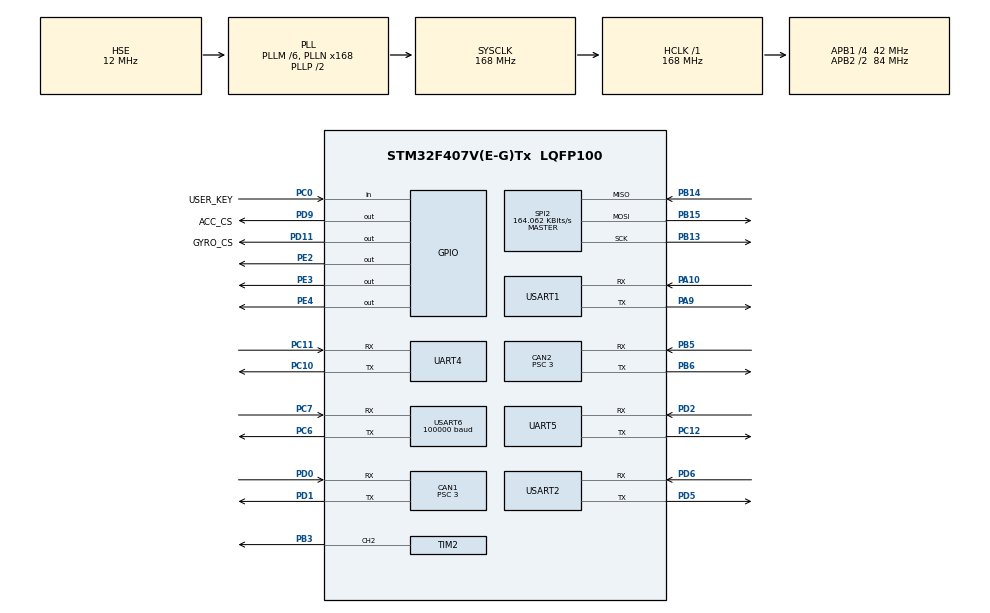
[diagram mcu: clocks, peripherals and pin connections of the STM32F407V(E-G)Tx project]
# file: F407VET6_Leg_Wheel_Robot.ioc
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CAN1.BS1=CAN_BS1_10TQ
CAN1.BS2=CAN_BS2_3TQ
CAN1.CalculateBaudRate=1000000
CAN1.CalculateTimeBit=1000
CAN1.CalculateTimeQuantum=71.42857142857143
CAN1.Prescaler=3
CAN2.BS1=CAN_BS1_10TQ
CAN2.BS2=CAN_BS2_3TQ
CAN2.CalculateBaudRate=1000000
CAN2.CalculateTimeBit=1000
CAN2.CalculateTimeQuantum=71.42857142857143
CAN2.Prescaler=3
Dma.Request0=USART1_RX
Dma.Request1=USART1_TX
Dma.Request2=UART4_RX
Dma.Request3=UART4_TX
Dma.Request4=USART6_RX
Dma.UART4_RX.2.Direction=DMA_PERIPH_TO_MEMORY
Dma.UART4_RX.2.FIFOMode=DMA_FIFOMODE_DISABLE
Dma.UART4_RX.2.Instance=DMA1_Stream2
Dma.UART4_RX.2.MemDataAlignment=DMA_MDATAALIGN_BYTE
Dma.UART4_RX.2.MemInc=DMA_MINC_ENABLE
Dma.UART4_RX.2.Mode=DMA_NORMAL
Dma.UART4_RX.2.PeriphDataAlignment=DMA_PDATAALIGN_BYTE
Dma.UART4_RX.2.PeriphInc=DMA_PINC_DISABLE
Dma.UART4_RX.2.Priority=DMA_PRIORITY_VERY_HIGH
Dma.UART4_TX.3.Direction=DMA_MEMORY_TO_PERIPH
Dma.UART4_TX.3.FIFOMode=DMA_FIFOMODE_DISABLE
Dma.UART4_TX.3.Instance=DMA1_Stream4
Dma.UART4_TX.3.MemDataAlignment=DMA_MDATAALIGN_BYTE
Dma.UART4_TX.3.MemInc=DMA_MINC_ENABLE
Dma.UART4_TX.3.Mode=DMA_CIRCULAR
Dma.UART4_TX.3.PeriphDataAlignment=DMA_PDATAALIGN_BYTE
Dma.UART4_TX.3.PeriphInc=DMA_PINC_DISABLE
Dma.UART4_TX.3.Priority=DMA_PRIORITY_VERY_HIGH
Dma.USART1_RX.0.Direction=DMA_PERIPH_TO_MEMORY
Dma.USART1_RX.0.FIFOMode=DMA_FIFOMODE_DISABLE
Dma.USART1_RX.0.Instance=DMA2_Stream2
Dma.USART1_RX.0.MemDataAlignment=DMA_MDATAALIGN_BYTE
Dma.USART1_RX.0.MemInc=DMA_MINC_ENABLE
Dma.USART1_RX.0.Mode=DMA_NORMAL
Dma.USART1_RX.0.PeriphDataAlignment=DMA_PDATAALIGN_BYTE
Dma.USART1_RX.0.PeriphInc=DMA_PINC_DISABLE
Dma.USART1_RX.0.Priority=DMA_PRIORITY_VERY_HIGH
Dma.USART1_TX.1.Direction=DMA_MEMORY_TO_PERIPH
Dma.USART1_TX.1.FIFOMode=DMA_FIFOMODE_DISABLE
Dma.USART1_TX.1.Instance=DMA2_Stream7
Dma.USART1_TX.1.MemDataAlignment=DMA_MDATAALIGN_BYTE
Dma.USART1_TX.1.MemInc=DMA_MINC_ENABLE
Dma.USART1_TX.1.Mode=DMA_CIRCULAR
Dma.USART1_TX.1.PeriphDataAlignment=DMA_PDATAALIGN_BYTE
Dma.USART1_TX.1.PeriphInc=DMA_PINC_DISABLE
Dma.USART1_TX.1.Priority=DMA_PRIORITY_VERY_HIGH
Dma.USART6_RX.4.Direction=DMA_PERIPH_TO_MEMORY
Dma.USART6_RX.4.FIFOMode=DMA_FIFOMODE_DISABLE
Dma.USART6_RX.4.Instance=DMA2_Stream1
Dma.USART6_RX.4.MemDataAlignment=DMA_MDATAALIGN_BYTE
Dma.USART6_RX.4.MemInc=DMA_MINC_ENABLE
Dma.USART6_RX.4.Mode=DMA_CIRCULAR
Dma.USART6_RX.4.PeriphDataAlignment=DMA_PDATAALIGN_BYTE
Dma.USART6_RX.4.PeriphInc=DMA_PINC_DISABLE
Dma.USART6_RX.4.Priority=DMA_PRIORITY_VERY_HIGH
FREERTOS.Tasks01=defaultTask,0,128,StartDefaultTask,Default,NULL,Dynamic,NULL,NULL;INS_TASK,3,512,INS_Task,Default,NULL,Dynamic,NULL,NULL;LEG_RIGHT,1,512,LEG_Right,Default,NULL,Dynamic,NULL,NULL;LEG_LEFT,1,512,LEG_Left,Default,NULL,Dynamic,NULL,NULL;BALAENCE_CHAIR,1,512,BALANCE_Chair,Default,NULL,Dynamic,NULL,NULL;OBSERVE_TASK,2,512,Observe_Task,Default,NULL,Dynamic,NULL,NULL;DRIVER_TASK,1,128,DRIVER_Task,Default,NULL,Dynamic,NULL,NULL
Mcu.Family=STM32F4
Mcu.Name=STM32F407V(E-G)Tx
Mcu.Package=LQFP100
NVIC.CAN1_RX0_IRQn=true\:5\:0\:false\:false\:true\:true\:true\:true\:true
NVIC.CAN1_RX1_IRQn=true\:5\:0\:false\:false\:true\:true\:true\:true\:true
NVIC.CAN2_RX0_IRQn=true\:5\:0\:false\:false\:true\:true\:true\:true\:true
NVIC.CAN2_RX1_IRQn=true\:5\:0\:false\:false\:true\:true\:true\:true\:true
NVIC.DMA1_Stream2_IRQn=true\:5\:0\:false\:false\:true\:true\:false\:true\:true
NVIC.DMA1_Stream4_IRQn=true\:5\:0\:false\:false\:true\:true\:false\:true\:true
NVIC.DMA2_Stream1_IRQn=true\:5\:0\:false\:false\:true\:true\:false\:true\:true
NVIC.DMA2_Stream2_IRQn=true\:5\:0\:false\:false\:true\:true\:false\:true\:true
NVIC.DMA2_Stream7_IRQn=true\:5\:0\:false\:false\:true\:true\:false\:true\:true
NVIC.PriorityGroup=NVIC_PRIORITYGROUP_4
NVIC.TIM3_IRQn=true\:15\:0\:false\:false\:true\:false\:false\:true\:true
NVIC.TimeBase=TIM3_IRQn
NVIC.TimeBaseIP=TIM3
NVIC.UART4_IRQn=true\:5\:0\:false\:false\:true\:true\:true\:true\:true
NVIC.USART1_IRQn=true\:5\:0\:false\:false\:true\:true\:false\:true\:true
NVIC.USART6_IRQn=true\:5\:0\:true\:false\:true\:false\:true\:true\:true
PA10.Mode=Asynchronous
PA10.Signal=USART1_RX
PA13.Mode=Serial_Wire
PA13.Signal=SYS_JTMS-SWDIO
PA14.Mode=Serial_Wire
PA14.Signal=SYS_JTCK-SWCLK
PA9.Mode=Asynchronous
PA9.Signal=USART1_TX
PB13.Mode=Full_Duplex_Master
PB13.Signal=SPI2_SCK
PB14.Mode=Full_Duplex_Master
PB14.Signal=SPI2_MISO
PB15.Mode=Full_Duplex_Master
PB15.Signal=SPI2_MOSI
PB3.Signal=S_TIM2_CH2
PB5.Mode=CAN_Activate
PB5.Signal=CAN2_RX
PB6.Mode=CAN_Activate
PB6.Signal=CAN2_TX
PC0.GPIO_Label=USER_KEY
PC0.Signal=GPIO_Input
PC10.Mode=Asynchronous
PC10.Signal=UART4_TX
PC11.Mode=Asynchronous
PC11.Signal=UART4_RX
PC12.Mode=Asynchronous
PC12.Signal=UART5_TX
PC6.Mode=Asynchronous
PC6.Signal=USART6_TX
PC7.Mode=Asynchronous
PC7.Signal=USART6_RX
PD0.Mode=CAN_Activate
PD0.Signal=CAN1_RX
PD1.Mode=CAN_Activate
PD1.Signal=CAN1_TX
PD11.GPIO_Label=GYRO_CS
PD11.Signal=GPIO_Output
PD2.Mode=Asynchronous
PD2.Signal=UART5_RX
PD5.Mode=Asynchronous
PD5.Signal=USART2_TX
PD6.Mode=Asynchronous
PD6.Signal=USART2_RX
PD9.GPIO_Label=ACC_CS
PD9.Signal=GPIO_Output
PE2.PinState=GPIO_PIN_SET
PE2.Signal=GPIO_Output
PE3.PinState=GPIO_PIN_SET
PE3.Signal=GPIO_Output
PE4.PinState=GPIO_PIN_SET
PE4.Signal=GPIO_Output
PH0-OSC_IN.Mode=HSE-External-Oscillator
PH0-OSC_IN.Signal=RCC_OSC_IN
PH1-OSC_OUT.Mode=HSE-External-Oscillator
PH1-OSC_OUT.Signal=RCC_OSC_OUT
ProjectManager.HeapSize=0x200
ProjectManager.StackSize=0x400
ProjectManager.TargetToolchain=MDK-ARM V5.32
RCC.48MHZClocksFreq_Value=84000000
RCC.AHBFreq_Value=168000000
RCC.APB1CLKDivider=RCC_HCLK_DIV4
RCC.APB1Freq_Value=42000000
RCC.APB1TimFreq_Value=84000000
RCC.APB2CLKDivider=RCC_HCLK_DIV2
RCC.APB2Freq_Value=84000000
RCC.APB2TimFreq_Value=168000000
RCC.CortexFreq_Value=168000000
RCC.HCLKFreq_Value=168000000
RCC.HSE_VALUE=12000000
RCC.HSI_VALUE=16000000
RCC.LSE_VALUE=32768
RCC.PLLM=6
RCC.PLLN=168
RCC.PLLSourceVirtual=RCC_PLLSOURCE_HSE
RCC.SYSCLKFreq_VALUE=168000000
RCC.SYSCLKSource=RCC_SYSCLKSOURCE_PLLCLK
RCC.VCOOutputFreq_Value=336000000
SH.S_TIM2_CH2.0=TIM2_CH2,Output Compare2 CH2
SPI2.BaudRatePrescaler=SPI_BAUDRATEPRESCALER_256
SPI2.CLKPhase=SPI_PHASE_2EDGE
SPI2.CLKPolarity=SPI_POLARITY_HIGH
SPI2.CalculateBaudRate=164.062 KBits/s
SPI2.Direction=SPI_DIRECTION_2LINES
SPI2.Mode=SPI_MODE_MASTER
SPI2.VirtualType=VM_MASTER
TIM2.Channel-Output\ Compare2\ CH2=TIM_CHANNEL_2
TIM2.Period=4999
UART4.VirtualMode=Asynchronous
UART5.VirtualMode=Asynchronous
USART1.VirtualMode=VM_ASYNC
USART2.VirtualMode=VM_ASYNC
USART6.BaudRate=100000
USART6.Parity=PARITY_EVEN
USART6.StopBits=STOPBITS_2
USART6.VirtualMode=VM_ASYNC
USART6.WordLength=WORDLENGTH_9B
VP_FREERTOS_VS_CMSIS_V1.Mode=CMSIS_V1
VP_SYS_VS_tim3.Mode=TIM3
board=custom

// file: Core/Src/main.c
/* USER CODE BEGIN Header */
/**
  ******************************************************************************
  * @file           : main.c
  * @brief          : Main program body
  ******************************************************************************
  * @attention
  *
  * Copyright (c) 2024 STMicroelectronics.
  * All rights reserved.
  *
  * This software is licensed under terms that can be found in the LICENSE file
  * in the root directory of this software component.
  * If no LICENSE file comes with this software, it is provided AS-IS.
  *
  ******************************************************************************
  */
/* USER CODE END Header */
#include "main.h"
#include "cmsis_os.h"
#include "can.h"
#include "dma.h"
#include "spi.h"
#include "tim.h"
#include "usart.h"
#include "gpio.h"

/* USER CODE BEGIN Includes */
#include "usart_rc_dbus.h"
#include "BMI088driver.h"
#include "BMI088reg.h"
#include "BMI088Middleware.h"
#include "bsp_dwt.h"
#include "can_receive.h"
#include "ins_task.h"
#include "BM_Ctrl.h"
/* USER CODE END Includes */

void SystemClock_Config(void);
void MX_FREERTOS_Init(void);

/* USER CODE BEGIN 0 */
uint8_t motor_mode[8];

/* USER CODE END 0 */

int main(void)
{

  /* MCU Configuration--------------------------------------------------------*/

  /* Reset of all peripherals, Initializes the Flash interface and the Systick. */
  HAL_Init();

  /* Configure the system clock */
  SystemClock_Config();

  /* Initialize all configured peripherals */
  MX_GPIO_Init();
  MX_DMA_Init();
  MX_CAN1_Init();
  MX_CAN2_Init();
  MX_SPI2_Init();
  MX_TIM2_Init();
  MX_UART4_Init();
  MX_UART5_Init();
  MX_USART1_UART_Init();
  MX_USART2_UART_Init();
  MX_USART6_UART_Init();
  /* USER CODE BEGIN 2 */
	CAN_Init();
	RC_init();

	DWT_Init(168);

  /* BMI088初始化 *///之前已经对角速度和加速度的零飘校准过了，所以之后上电就不需要校准。如果硬件设备更换，则需要重新校准下
  while (BMI088_init(&hspi2, 0) != BMI088_NO_ERROR)
	{
	  HAL_GPIO_TogglePin(GPIOE,GPIO_PIN_2);
	}
  /* USER CODE END 2 */

  /* Call init function for freertos objects (in cmsis_os2.c) */
  MX_FREERTOS_Init();

  /* Start scheduler */
  osKernelStart();

  /* We should never get here as control is now taken by the scheduler */

  /* Infinite loop */
  while (1)
  {

    /* USER CODE BEGIN 3 */
//		for(int i=0;i<8;i++)
//		{
//			motor_mode[i]=BM_disable_mode;
//		}
////		BM_motor_ctrl(&hcan2,BM_ID_range_2,0,0,1000,0);
//		HAL_Delay(10);
//		BM_ctrl_mode_set(&hcan2,motor_mode);
//		BM_data_write_mode_set(&hcan2,1,0x2A,7);
//		BM_data_save_joint_set(&hcan2,0x01,0x00);
//		BM_ID_set(&hcan2,5);
  }
  /* USER CODE END 3 */
}

void SystemClock_Config(void)
{
  RCC_OscInitTypeDef RCC_OscInitStruct = {0};
  RCC_ClkInitTypeDef RCC_ClkInitStruct = {0};

  /** Configure the main internal regulator output voltage
  */
  __HAL_RCC_PWR_CLK_ENABLE();
  __HAL_PWR_VOLTAGESCALING_CONFIG(PWR_REGULATOR_VOLTAGE_SCALE1);

  /** Initializes the RCC Oscillators according to the specified parameters
  * in the RCC_OscInitTypeDef structure.
  */
  RCC_OscInitStruct.OscillatorType = RCC_OSCILLATORTYPE_HSE;
  RCC_OscInitStruct.HSEState = RCC_HSE_ON;
  RCC_OscInitStruct.PLL.PLLState = RCC_PLL_ON;
  RCC_OscInitStruct.PLL.PLLSource = RCC_PLLSOURCE_HSE;
  RCC_OscInitStruct.PLL.PLLM = 6;
  RCC_OscInitStruct.PLL.PLLN = 168;
  RCC_OscInitStruct.PLL.PLLP = RCC_PLLP_DIV2;
  RCC_OscInitStruct.PLL.PLLQ = 4;
  if (HAL_RCC_OscConfig(&RCC_OscInitStruct) != HAL_OK)
  {
    Error_Handler();
  }

  /** Initializes the CPU, AHB and APB buses clocks
  */
  RCC_ClkInitStruct.ClockType = RCC_CLOCKTYPE_HCLK|RCC_CLOCKTYPE_SYSCLK
                              |RCC_CLOCKTYPE_PCLK1|RCC_CLOCKTYPE_PCLK2;
  RCC_ClkInitStruct.SYSCLKSource = RCC_SYSCLKSOURCE_PLLCLK;
  RCC_ClkInitStruct.AHBCLKDivider = RCC_SYSCLK_DIV1;
  RCC_ClkInitStruct.APB1CLKDivider = RCC_HCLK_DIV4;
  RCC_ClkInitStruct.APB2CLKDivider = RCC_HCLK_DIV2;

  if (HAL_RCC_ClockConfig(&RCC_ClkInitStruct, FLASH_LATENCY_5) != HAL_OK)
  {
    Error_Handler();
  }
}

void HAL_TIM_PeriodElapsedCallback(TIM_HandleTypeDef *htim)
{
  if (htim->Instance == TIM3) {
    HAL_IncTick();
  }
}

void Error_Handler(void)
{
  __disable_irq();
  while (1)
  {
  }
}

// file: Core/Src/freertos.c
/* USER CODE BEGIN Header */
/**
  ******************************************************************************
  * File Name          : freertos.c
  * Description        : Code for freertos applications
  ******************************************************************************
  * @attention
  *
  * Copyright (c) 2024 STMicroelectronics.
  * All rights reserved.
  *
  * This software is licensed under terms that can be found in the LICENSE file
  * in the root directory of this software component.
  * If no LICENSE file comes with this software, it is provided AS-IS.
  *
  ******************************************************************************
  */
/* USER CODE END Header */

#include "FreeRTOS.h"
#include "task.h"
#include "main.h"
#include "cmsis_os.h"

/* USER CODE BEGIN Includes */
#include "ins_task.h"
#include "balance_chair_task.h"
#include "observe_task.h"
#include "Driver_task.h"
/* USER CODE END Includes */

osThreadId defaultTaskHandle;
osThreadId INS_TASKHandle;
osThreadId LEG_RIGHTHandle;
osThreadId LEG_LEFTHandle;
osThreadId BALAENCE_CHAIRHandle;
osThreadId OBSERVE_TASKHandle;
osThreadId DRIVER_TASKHandle;

void StartDefaultTask(void const * argument);
void INS_Task(void const * argument);
void LEG_Right(void const * argument);
void LEG_Left(void const * argument);
void BALANCE_Chair(void const * argument);
void Observe_Task(void const * argument);
void DRIVER_Task(void const * argument);

void MX_FREERTOS_Init(void); /* (MISRA C 2004 rule 8.1) */

/* GetIdleTaskMemory prototype (linked to static allocation support) */
void vApplicationGetIdleTaskMemory( StaticTask_t **ppxIdleTaskTCBBuffer, StackType_t **ppxIdleTaskStackBuffer, uint32_t *pulIdleTaskStackSize );

/* USER CODE BEGIN GET_IDLE_TASK_MEMORY */
static StaticTask_t xIdleTaskTCBBuffer;
static StackType_t xIdleStack[configMINIMAL_STACK_SIZE];

void vApplicationGetIdleTaskMemory( StaticTask_t **ppxIdleTaskTCBBuffer, StackType_t **ppxIdleTaskStackBuffer, uint32_t *pulIdleTaskStackSize )
{
  *ppxIdleTaskTCBBuffer = &xIdleTaskTCBBuffer;
  *ppxIdleTaskStackBuffer = &xIdleStack[0];
  *pulIdleTaskStackSize = configMINIMAL_STACK_SIZE;
  /* place for user code */
}
/* USER CODE END GET_IDLE_TASK_MEMORY */

void MX_FREERTOS_Init(void) {

  /* Create the thread(s) */
  /* definition and creation of defaultTask */
  osThreadDef(defaultTask, StartDefaultTask, osPriorityNormal, 0, 128);
  defaultTaskHandle = osThreadCreate(osThread(defaultTask), NULL);

  /* definition and creation of INS_TASK */
  osThreadDef(INS_TASK, INS_Task, osPriorityRealtime, 0, 512);
  INS_TASKHandle = osThreadCreate(osThread(INS_TASK), NULL);

  /* definition and creation of LEG_RIGHT */
  osThreadDef(LEG_RIGHT, LEG_Right, osPriorityAboveNormal, 0, 512);
  LEG_RIGHTHandle = osThreadCreate(osThread(LEG_RIGHT), NULL);

  /* definition and creation of LEG_LEFT */
  osThreadDef(LEG_LEFT, LEG_Left, osPriorityAboveNormal, 0, 512);
  LEG_LEFTHandle = osThreadCreate(osThread(LEG_LEFT), NULL);

  /* definition and creation of BALAENCE_CHAIR */
  osThreadDef(BALAENCE_CHAIR, BALANCE_Chair, osPriorityAboveNormal, 0, 512);
  BALAENCE_CHAIRHandle = osThreadCreate(osThread(BALAENCE_CHAIR), NULL);

  /* definition and creation of OBSERVE_TASK */
  osThreadDef(OBSERVE_TASK, Observe_Task, osPriorityHigh, 0, 512);
  OBSERVE_TASKHandle = osThreadCreate(osThread(OBSERVE_TASK), NULL);

  /* definition and creation of DRIVER_TASK */
  osThreadDef(DRIVER_TASK, DRIVER_Task, osPriorityAboveNormal, 0, 128);
  DRIVER_TASKHandle = osThreadCreate(osThread(DRIVER_TASK), NULL);

}

void StartDefaultTask(void const * argument)
{
  for(;;)
  {
    osDelay(1);
  }
}

void INS_Task(void const * argument)
{
  /* USER CODE BEGIN INS_Task */
  /* Infinite loop */
  for(;;)
  {
    INS_task();
		osDelay(1);
  }
  /* USER CODE END INS_Task */
}

void LEG_Right(void const * argument)
{
  for(;;)
  {
    osDelay(1);
  }
}

void LEG_Left(void const * argument)
{
  for(;;)
  {
    osDelay(1);
  }
}

void BALANCE_Chair(void const * argument)
{
  /* USER CODE BEGIN BALANCE_Chair */
  /* Infinite loop */
  for(;;)
  {
		balance_chair_task();
    osDelay(1);
  }
  /* USER CODE END BALANCE_Chair */
}

void Observe_Task(void const * argument)
{
  /* USER CODE BEGIN Observe_Task */
  /* Infinite loop */
  for(;;)
  {
		Observe_task();
    osDelay(1);
  }
  /* USER CODE END Observe_Task */
}

void DRIVER_Task(void const * argument)
{
  /* USER CODE BEGIN DRIVER_Task */
  /* Infinite loop */
  for(;;)
  {
		Driver_task();
    osDelay(1);
  }
  /* USER CODE END DRIVER_Task */
}
